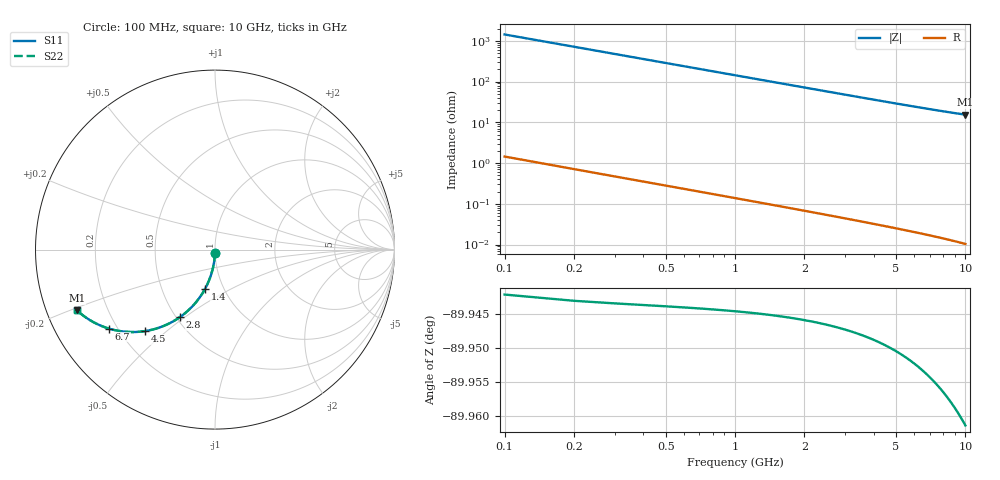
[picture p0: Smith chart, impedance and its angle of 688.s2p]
# Hz S RI R 50.00
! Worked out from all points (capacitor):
!   100 points, 100 MHz to 10 GHz, reference 50 ohm
!   read as one part in shunt: C = 1.11 pF near 100 MHz
!   lowest |Z| = 15.4 ohm at 10 GHz (marker M1)
!   S11 on the Smith chart (normalised r, x): 100 MHz: 1.00, -0.03; 1.4 GHz: 0.81, -0.38; 2.8 GHz: 0.52, -0.48; 4.5 GHz: 0.30, -0.43; 6.7 GHz: 0.17, -0.32; 10 GHz: 0.09, -0.21
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1e8  -0.00017 -0.0167  0.9995 -0.0182  0.9995 -0.0182  -0.00017 -0.0167
2e8  -0.0011 -0.0335  0.9986 -0.0364  0.9986 -0.0364  -0.0011 -0.0335
3e8  -0.00263 -0.0501  0.997 -0.0545  0.997 -0.0545  -0.00263 -0.0501
4e8  -0.00477 -0.0667  0.9949 -0.0725  0.9949 -0.0725  -0.00477 -0.0667
5e8  -0.0075 -0.0831  0.9922 -0.0904  0.9922 -0.0904  -0.0075 -0.0831
6e8  -0.0108 -0.0994  0.9888 -0.1081  0.9888 -0.1081  -0.0108 -0.0994
7e8  -0.0147 -0.1155  0.9849 -0.1257  0.9849 -0.1257  -0.0147 -0.1155
9e8  -0.0241 -0.147  0.9755 -0.1602  0.9755 -0.1602  -0.0241 -0.147
1.1e9  -0.0357 -0.1776  0.9639 -0.1936  0.9639 -0.1936  -0.0357 -0.1776
1.4e9  -0.0567 -0.221  0.9428 -0.2415  0.9428 -0.2415  -0.0567 -0.221
1.8e9  -0.0906 -0.2738  0.9088 -0.3001  0.9088 -0.3001  -0.0906 -0.2738
2.3e9  -0.1402 -0.3303  0.8589 -0.3641  0.8589 -0.3641  -0.1402 -0.3303
2.8e9  -0.1953 -0.3758  0.8036 -0.4169  0.8036 -0.4169  -0.1953 -0.3758
3.4e9  -0.2645 -0.4159  0.7339 -0.466  0.7339 -0.466  -0.2645 -0.4159
3.9e9  -0.3221 -0.4383  0.6759 -0.496  0.6759 -0.496  -0.3221 -0.4383
4.5e9  -0.3889 -0.4539  0.6085 -0.5207  0.6085 -0.5207  -0.3889 -0.4539
5.1e9  -0.4513 -0.4592  0.5455 -0.5353  0.5455 -0.5353  -0.4513 -0.4592
5.9e9  -0.5261 -0.4544  0.4696 -0.5429  0.4696 -0.5429  -0.5261 -0.4544
6.7e9  -0.5909 -0.44  0.4036 -0.5412  0.4036 -0.5412  -0.5909 -0.44
7.5e9  -0.6462 -0.4194  0.3469 -0.5336  0.3469 -0.5336  -0.6462 -0.4194
8.4e9  -0.6983 -0.392  0.293 -0.5211  0.293 -0.5211  -0.6983 -0.392
1e10  -0.7693 -0.3384  0.218 -0.4948  0.218 -0.4948  -0.7693 -0.3384
